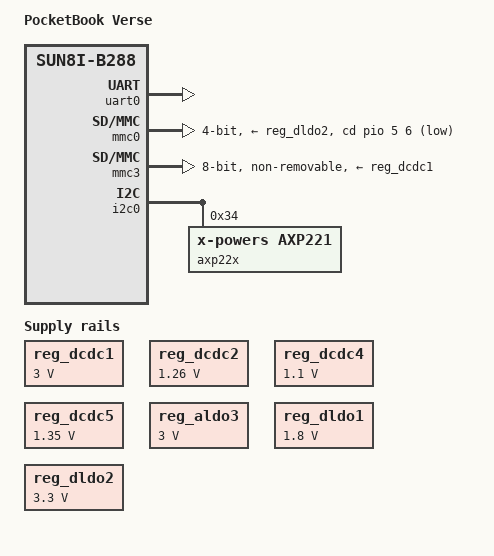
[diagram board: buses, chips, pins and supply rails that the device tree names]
// SPDX-License-Identifier: (GPL-2.0+ OR MIT)
/*
 * PocketBook Verse (PB629), an Allwinner B288 based e-reader.
 */

/dts-v1/;
#include "sun8i-b288.dtsi"

#include <dt-bindings/gpio/gpio.h>

/ {
	model = "PocketBook Verse";
	compatible = "pocketbook,verse", "allwinner,sun8i-b288";

	aliases {
		serial0 = &uart0;
	};

	chosen {
		stdout-path = "serial0:115200n8";
	};
};

&uart0 {
	pinctrl-names = "default";
	pinctrl-0 = <&uart0_pb_pins>;
	status = "okay";
};

&mmc0 {
	vmmc-supply = <&reg_dldo2>;
	bus-width = <4>;
	cd-gpios = <&pio 5 6 GPIO_ACTIVE_LOW>;	/* PF6 */
	disable-wp;
	status = "okay";
};

&mmc3 {
	vmmc-supply = <&reg_dcdc1>;
	vqmmc-supply = <&reg_dldo1>;
	bus-width = <8>;
	non-removable;
	cap-mmc-hw-reset;
	mmc-ddr-1_8v;
	mmc-hs200-1_8v;
	status = "okay";
};

&pio {
	vcc-pc-supply = <&reg_dldo1>;
	vcc-pd-supply = <&reg_dldo1>;
};

&i2c0 {
	status = "okay";

	axp22x: pmic@34 {
		/* labelled AXP227 */
		compatible = "x-powers,axp221";
		reg = <0x34>;
		interrupt-parent = <&nmi_intc>;
		interrupts = <0 IRQ_TYPE_LEVEL_LOW>;
	};
};

#include "axp22x.dtsi"

&reg_dcdc1 {
	regulator-always-on;
	regulator-min-microvolt = <3000000>;
	regulator-max-microvolt = <3000000>;
	regulator-name = "vcc-io";
};

&reg_dcdc2 {
	regulator-always-on;
	regulator-min-microvolt = <1260000>;
	regulator-max-microvolt = <1260000>;
	regulator-name = "vdd-cpu";
};

&reg_dcdc4 {
	regulator-always-on;
	regulator-min-microvolt = <1100000>;
	regulator-max-microvolt = <1100000>;
	regulator-name = "vdd-sys";
};

&reg_dcdc5 {
	regulator-always-on;
	regulator-min-microvolt = <1350000>;
	regulator-max-microvolt = <1350000>;
	regulator-name = "vcc-dram";
};

&reg_aldo3 {
	regulator-always-on;
	regulator-min-microvolt = <3000000>;
	regulator-max-microvolt = <3000000>;
	regulator-name = "avcc";
};

&reg_dldo1 {
	regulator-min-microvolt = <1800000>;
	regulator-max-microvolt = <1800000>;
	regulator-name = "vcc-pc";
};

&reg_dldo2 {
	/* microSD slot */
	regulator-min-microvolt = <3300000>;
	regulator-max-microvolt = <3300000>;
	regulator-name = "vcc-sdcv";
};
